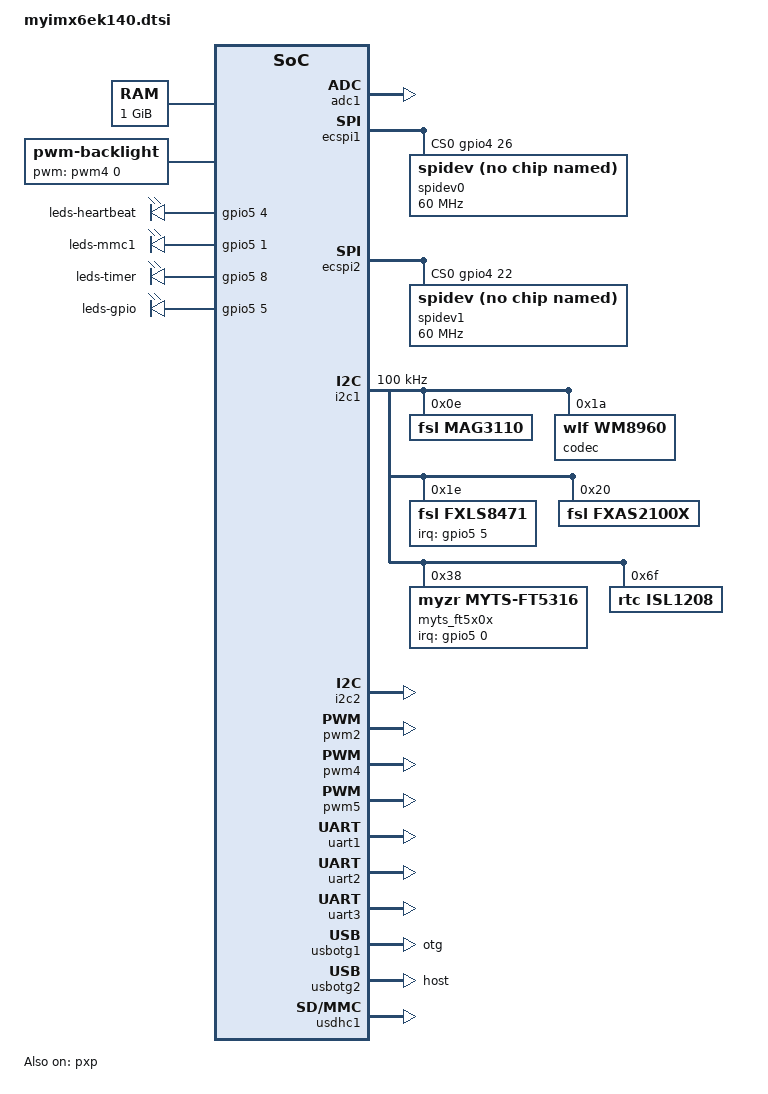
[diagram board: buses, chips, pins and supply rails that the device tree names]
/*
 * MYZR Technology Co.,Ltd
 * http://www.myzr.com.cn
 * Tang Bin <tangb@myzr.com.cn>
 * 2018-10-18
 */

/ {
    chosen {
        stdout-path = &uart1;
    };

    memory {
        reg = <0x80000000 0x40000000>;
    };

    backlight {
        compatible = "pwm-backlight";
        pwms = <&pwm4 0 5000000>;
        brightness-levels = <0 4 8 16 32 64 128 255>;
        default-brightness-level = <4>;
        status = "okay";
    };
    
    pxp_v4l2 {
        compatible = "fsl,imx6ul-pxp-v4l2", "fsl,imx6sx-pxp-v4l2", "fsl,imx6sl-pxp-v4l2";
        status = "okay";
    };

    leds {
        compatible = "gpio-leds";
        pinctrl-names = "default";
        pinctrl-0 = <&pinctrl_snvs_gpio_leds>;
		
        leds-heartbeat {
            gpios = <&gpio5 4 GPIO_ACTIVE_HIGH>;	/* D1 */
            linux,default-trigger = "heartbeat";
        };
        
        leds-mmc1 {
            gpios = <&gpio5 1 GPIO_ACTIVE_HIGH>;	/* D2 */
            linux,default-trigger = "mmc1";
        };
		
        leds-timer {
            gpios = <&gpio5 8 GPIO_ACTIVE_HIGH>;	/* D4 */
            linux,default-trigger = "timer";
        };
        
        leds-gpio {
            gpios = <&gpio5 5 GPIO_ACTIVE_HIGH>;	/* D5 */
            linux,default-trigger = "gpio";
        };
    };

};

&clks {
    assigned-clocks = <&clks IMX6UL_CLK_PLL4_AUDIO_DIV>;
    assigned-clock-rates = <786432000>;
};

&adc1 {
    pinctrl-names = "default";
    num-channels = <10>;
    pinctrl-0 = <&pinctrl_gpio1_adc1>;
    status = "okay";
};

&ecspi1 {
    fsl,spi-num-chipselects = <1>;
    cs-gpios = <&gpio4 26 0>;
    pinctrl-names = "default";
    pinctrl-0 = <&pinctrl_csi_ecspi1 &pinctrl_csi_ecspi1_cs0>;
    status = "okay";

    spidev0: spi@0 {
        compatible = "spidev";
        reg = <0>;
        spi-max-frequency = <60000000>;
    };
};

&ecspi2 {
    fsl,spi-num-chipselects = <1>;
    cs-gpios = <&gpio4 22 0>;
    pinctrl-names = "default";
    pinctrl-0 = <&pinctrl_csi_ecspi2 &pinctrl_csi_ecspi2_cs0>;
    status = "okay";

    spidev1: spi@0 {
        compatible = "spidev";
        reg = <0>;
        spi-max-frequency = <60000000>;
    };
};
/*
&flexcan1 {
    pinctrl-names = "default";
    pinctrl-0 = <&pinctrl_uart3_flexcan1>;
    status = "okay";
};

&flexcan2 {
    pinctrl-names = "default";
    pinctrl-0 = <&pinctrl_uart2_flexcan2>;
    status = "okay";
};
*/
&gpc {
    fsl,cpu_pupscr_sw2iso = <0xf>;
    fsl,cpu_pupscr_sw = <0x0>;
    fsl,cpu_pdnscr_iso2sw = <0x1>;
    fsl,cpu_pdnscr_iso = <0x1>;
    fsl,ldo-bypass = <0>; /* DCDC, ldo-enable */
};

&i2c1 {
    clock-frequency = <100000>;
    pinctrl-names = "default";
    pinctrl-0 = <&pinctrl_csi_i2c1>;
    status = "okay";

    mag3110@0e {
        compatible = "fsl,mag3110";
        reg = <0x0e>;
        position = <2>;
    };

    codec: wm8960@1a {
        compatible = "wlf,wm8960";
        reg = <0x1a>;
        clocks = <&clks IMX6UL_CLK_SAI2>;
        clock-names = "mclk";
        wlf,shared-lrclk;
    };

    fxls8471@1e {
        compatible = "fsl,fxls8471";
        reg = <0x1e>;
        position = <0>;
        interrupt-parent = <&gpio5>;
        interrupts = <5 8>;
    };

    fxas2100x@20 {
        compatible = "fsl,fxas2100x";
        reg = <0x20>;
    };
	
	myts_ft5x0x@38 {
		compatible = "myzr,myts-ft5316";
		reg = <0x38>;
		pinctrl-names = "default";
		pinctrl-0 = <&pinctrl_snvs_ts>;
		interrupt-parent = <&gpio5>;
		interrupts = <0 0>;
		linux,wakeup;
    };
	
    isl1208@6f {
        compatible = "rtc,isl1208";
        reg = <0x6f>;
    };
};

&i2c2 {
    clock_frequency = <100000>;
    pinctrl-names = "default";
    pinctrl-0 = <&pinctrl_csi_i2c2>;
    status = "okay";
};

&pwm2 {
    pinctrl-names = "default";
    pinctrl-0 = <&pinctrl_gpio1_pwm2>;
    clocks = <&clks IMX6UL_CLK_PWM2>,
        <&clks IMX6UL_CLK_PWM2>;
    status = "okay";
};

&pwm4 {
    pinctrl-names = "default";
    pinctrl-0 = <&pinctrl_gpio1_pwm4>;
    clocks = <&clks IMX6UL_CLK_PWM4>,
        <&clks IMX6UL_CLK_PWM4>;
    status = "okay";
};

&pwm5 {
    pinctrl-names = "default";
    pinctrl-0 = <&pinctrl_nand_pwm5>;
    clocks = <&clks IMX6UL_CLK_PWM5>,
        <&clks IMX6UL_CLK_PWM5>;
    status = "okay";
};

&pxp {
    status = "okay";
};


&uart1 {
    pinctrl-names = "default";
    pinctrl-0 = <&pinctrl_uart1_uart1>;
    status = "okay";
};

&uart2 {
    pinctrl-names = "default";
    pinctrl-0 = <&pinctrl_uart2_uart2>;
    status = "okay";
};

&uart3 {
    pinctrl-names = "default";
    pinctrl-0 = <&pinctrl_uart3_uart3>;
    status = "okay";
};

&usbotg1 {
    pinctrl-names = "default";
    pinctrl-0 = <&pinctrl_gpio1_usb_otg1_id>;
    dr_mode = "otg";
    srp-disable;
    hnp-disable;
    adp-disable;
    status = "okay";
};

&usbotg2 {
    dr_mode = "host";
    disable-over-current;
    status = "okay";
};

&usdhc1 {
    pinctrl-names = "default";
    pinctrl-0 = <&pinctrl_sd1_usdhc1>;
    keep-power-in-suspend;
    enable-sdio-wakeup;
    status = "okay";
};

&wdog1 {
	pinctrl-names = "default";
	pinctrl-0 = <&pinctrl_gpio1_wdg1>;
	fsl,wdog_b;
};
